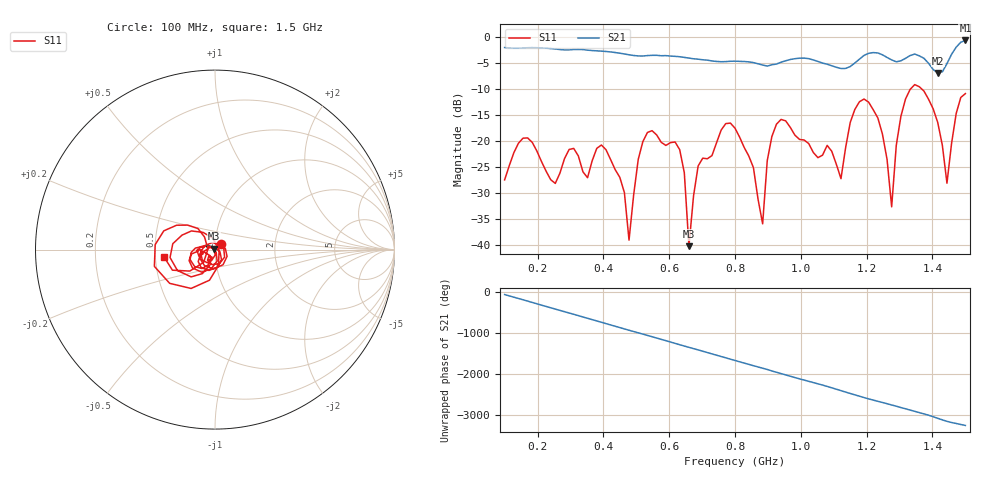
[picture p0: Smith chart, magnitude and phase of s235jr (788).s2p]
! NanoVNA-App
! Date: 2025-09-25 15:10:18
! Start: 100MHz Stop: 1,5GHz Points: 101
! S-Parameter data: F S11 S21 S12 S22
# Hz S RI R 50
!  Frequency  S11_Real  S11_Imag  S21_Real  S21_Imag  S12_Real  S12_Imag  S22_Real  S22_Imag
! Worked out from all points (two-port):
!   101 points, 100 MHz to 1.5 GHz, reference 50 ohm
!   highest |S21| = -0.60 dB at 1.5 GHz (marker M1); lowest = -6.9 dB at 1.416 GHz (marker M2)
!   |S21| within 3 dB of the highest: start of sweep to 602.2 MHz; 1.19 GHz to 1.254 GHz (64.67 MHz wide, 5.29 % of centre)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
!   lowest |S11| = -40.2 dB at 660 MHz (marker M3), VSWR 1.02, Z = 49.2 + j0.55 ohm
!   |S11| at or under -10 dB: start of sweep to 1.333 GHz; 1.368 GHz to end of sweep
!   S12 and S22 are empty: the file has one direction only
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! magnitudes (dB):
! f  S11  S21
! 100 MHz  -27.5  -2.0
! 156 MHz  -19.4  -2.0
! 338 MHz  -25.9  -2.4
! 408 MHz  -21.6  -2.7
! 478 MHz  -39.1  -3.4
! 520 MHz  -20.1  -3.6
! 576 MHz  -20.2  -3.5
! 632 MHz  -21.6  -3.7
! 660 MHz  -40.2  -4.0
! 688 MHz  -24.8  -4.2
! 800 MHz  -17.5  -4.6
! 884 MHz  -35.9  -5.3
! 926 MHz  -16.7  -5.1
! 1.038 GHz  -22.2  -4.4
! 1.122 GHz  -27.2  -6.0
! 1.206 GHz  -12.5  -3.1
! 1.276 GHz  -32.7  -4.3
! 1.29 GHz  -20.8  -4.7
! 1.332 GHz  -10.0  -3.5
! 1.416 GHz  -16.4  -6.9
! 1.444 GHz  -28.1  -5.1
! 1.5 GHz  -10.8  -0.6
